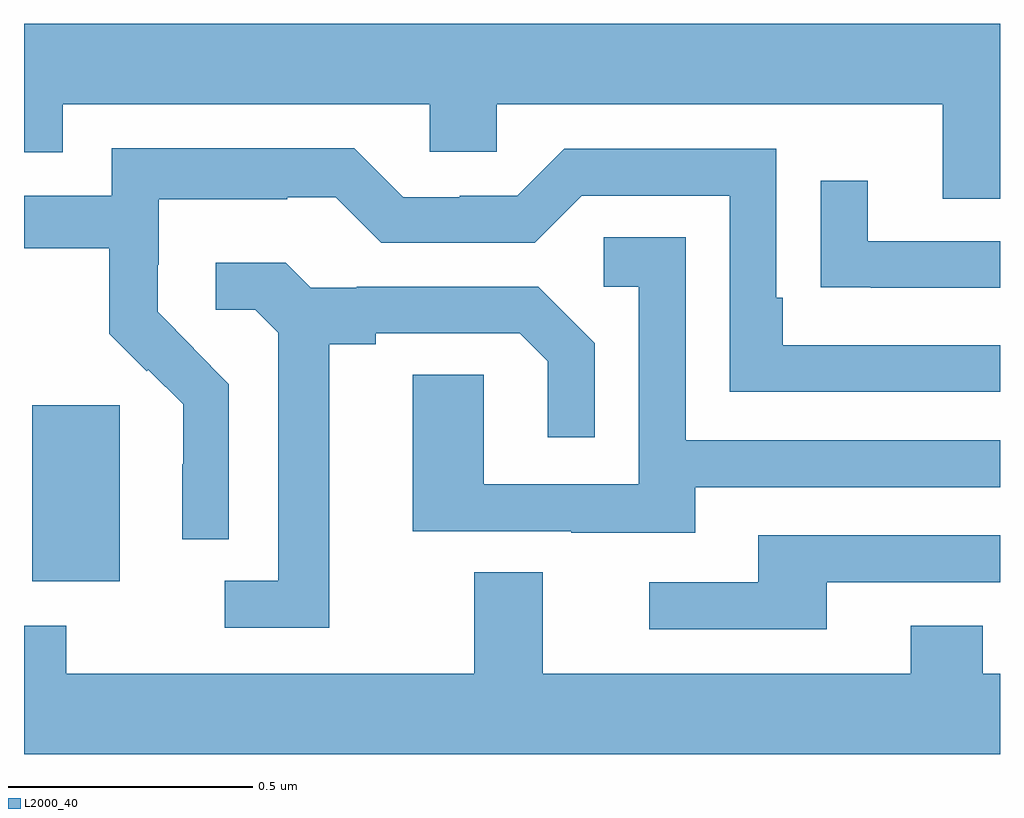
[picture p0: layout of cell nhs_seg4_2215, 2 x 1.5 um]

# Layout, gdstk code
import gdstk
lib = gdstk.Library(unit=1e-6, precision=1e-09)
def R(c, l, rs):  # rectangles x0, y0, x1, y1
    for r in rs: c.add(gdstk.rectangle(r[:2], r[2:], *l))
def P(c, l, *ps):  # polygons
    for p in ps: c.add(gdstk.Polygon(p, *l))
L2000_40 = (2000, 40)

nhs_seg4_2215 = lib.new_cell('nhs_seg4_2215')
R(nhs_seg4_2215, L2000_40, [(138.017,758.546,138.196,758.907)])
P(nhs_seg4_2215, L2000_40, [(140,759.688),(138,759.688),(138,759.425),(138.079,759.425),(138.079,759.524),(138.831,759.524),(138.831,759.426),(138.969,759.426),(138.969,759.524),(139.883,759.524),(139.883,759.33),(140,759.33)],
  [(138.42,758.95),(138.347,759.023),(138.348,759.024),(138.274,759.098),(138.274,759.195),(138.276,759.195),(138.276,759.329),(138.539,759.329),(138.539,759.333),(138.639,759.333),(138.732,759.24),(139.047,759.24),(139.143,759.336),(139.446,759.336),(139.446,758.934),(140,758.934),(140,759.03),(139.555,759.03),(139.555,759.127),(139.542,759.127),(139.542,759.432),(139.107,759.432),(139.011,759.336),(138.893,759.336),(138.893,759.333),(138.777,759.333),(138.677,759.433),(138.18,759.433),(138.18,759.336),(138,759.336),(138,759.228),(138.175,759.228),(138.175,759.053),(138.252,758.976),(138.255,758.979),(138.326,758.909),(138.326,758.786),(138.324,758.786),(138.324,758.632),(138.42,758.632)],
  [(140,759.243),(139.729,759.243),(139.729,759.367),(139.633,759.367),(139.633,759.148),(139.735,759.148),(139.735,759.147),(140,759.147)],
  [(139.375,758.739),(140,758.739),(140,758.835),(139.356,758.835),(139.356,759.251),(139.188,759.251),(139.188,759.15),(139.26,759.15),(139.26,758.745),(138.942,758.745),(138.942,758.969),(138.797,758.969),(138.797,758.649),(139.121,758.649),(139.121,758.645),(139.375,758.645)],
  [(138.625,759.032),(138.721,759.032),(138.721,759.054),(139.016,759.054),(139.073,758.997),(139.073,758.841),(139.17,758.841),(139.17,759.034),(139.054,759.15),(138.682,759.15),(138.682,759.147),(138.588,759.147),(138.536,759.199),(138.393,759.199),(138.393,759.102),(138.474,759.102),(138.521,759.055),(138.521,758.547),(138.411,758.547),(138.411,758.451),(138.625,758.451)],
  [(139.645,758.544),(140,758.544),(140,758.64),(139.505,758.64),(139.505,758.544),(139.281,758.544),(139.281,758.448),(139.645,758.448)],
  [(140,758.356),(139.965,758.356),(139.965,758.455),(139.817,758.455),(139.817,758.356),(139.063,758.356),(139.063,758.564),(138.923,758.564),(138.923,758.356),(138.087,758.356),(138.087,758.455),(138,758.455),(138,758.192),(140,758.192)])

lib.write_gds('nhs_seg4_2215.gds')
